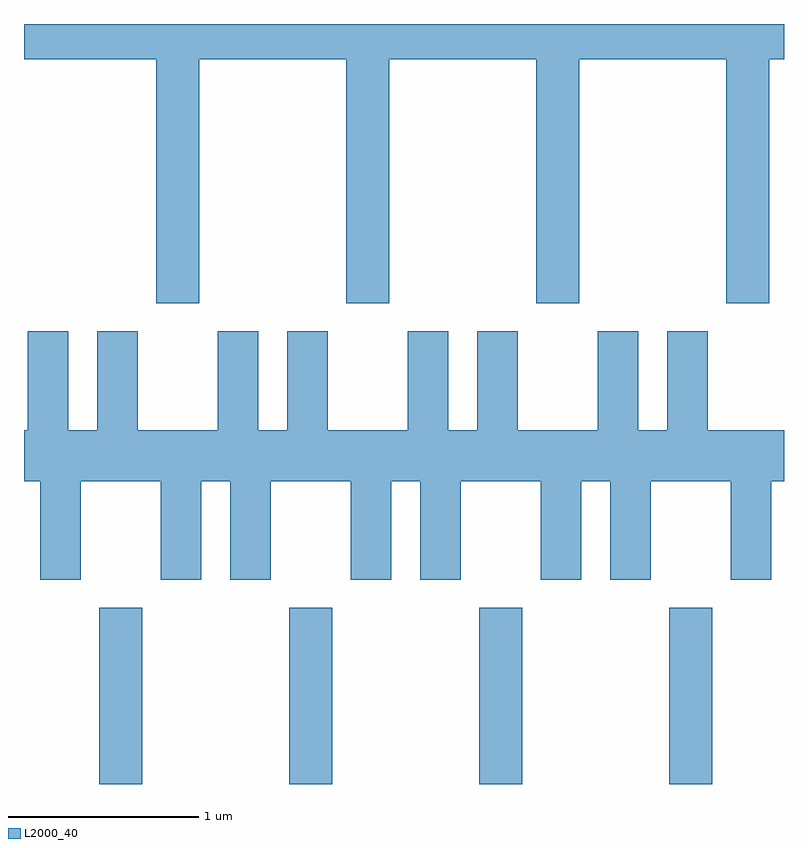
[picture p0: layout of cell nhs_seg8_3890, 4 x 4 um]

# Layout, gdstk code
import gdstk
lib = gdstk.Library(unit=1e-6, precision=1e-09)
def R(c, l, rs):  # rectangles x0, y0, x1, y1
    for r in rs: c.add(gdstk.rectangle(r[:2], r[2:], *l))
def A(c, l, x, y, w, h, nx, ny, dx, dy):  # array of equal rectangles
    R(c, l, [(x+i*dx, y+j*dy, x+i*dx+w, y+j*dy+h) for i in range(nx) for j in range(ny)])
def P(c, l, *ps):  # polygons
    for p in ps: c.add(gdstk.Polygon(p, *l))
L2000_40 = (2000, 40)

nhs_seg8_3890 = lib.new_cell('nhs_seg8_3890')
A(nhs_seg8_3890, L2000_40, 302.006, 1870.342, 0.228, 0.927, 4, 1, 1, 0)
P(nhs_seg8_3890, L2000_40, [(302.534,1874.156),(303.306,1874.156),(303.306,1872.871),(303.534,1872.871),(303.534,1874.156),(304.306,1874.156),(304.306,1872.871),(304.534,1872.871),(304.534,1874.156),(305.306,1874.156),(305.306,1872.871),(305.534,1872.871),(305.534,1874.156),(305.611,1874.156),(305.611,1874.342),(301.611,1874.342),(301.611,1874.156),(302.306,1874.156),(302.306,1872.871),(302.534,1872.871)],
  [(301.909,1871.936),(302.331,1871.936),(302.331,1871.416),(302.544,1871.416),(302.544,1871.936),(302.696,1871.936),(302.696,1871.416),(302.909,1871.416),(302.909,1871.936),(303.331,1871.936),(303.331,1871.416),(303.544,1871.416),(303.544,1871.936),(303.696,1871.936),(303.696,1871.416),(303.909,1871.416),(303.909,1871.936),(304.331,1871.936),(304.331,1871.416),(304.544,1871.416),(304.544,1871.936),(304.696,1871.936),(304.696,1871.416),(304.909,1871.416),(304.909,1871.936),(305.331,1871.936),(305.331,1871.416),(305.544,1871.416),(305.544,1871.936),(305.611,1871.936),(305.611,1872.204),(305.209,1872.204),(305.209,1872.724),(304.996,1872.724),(304.996,1872.204),(304.844,1872.204),(304.844,1872.724),(304.631,1872.724),(304.631,1872.204),(304.209,1872.204),(304.209,1872.724),(303.996,1872.724),(303.996,1872.204),(303.844,1872.204),(303.844,1872.724),(303.631,1872.724),(303.631,1872.204),(303.209,1872.204),(303.209,1872.724),(302.996,1872.724),(302.996,1872.204),(302.844,1872.204),(302.844,1872.724),(302.631,1872.724),(302.631,1872.204),(302.209,1872.204),(302.209,1872.724),(301.996,1872.724),(301.996,1872.204),(301.844,1872.204),(301.844,1872.724),(301.631,1872.724),(301.631,1872.204),(301.611,1872.204),(301.611,1871.936),(301.696,1871.936),(301.696,1871.416),(301.909,1871.416)])

lib.write_gds('nhs_seg8_3890.gds')
